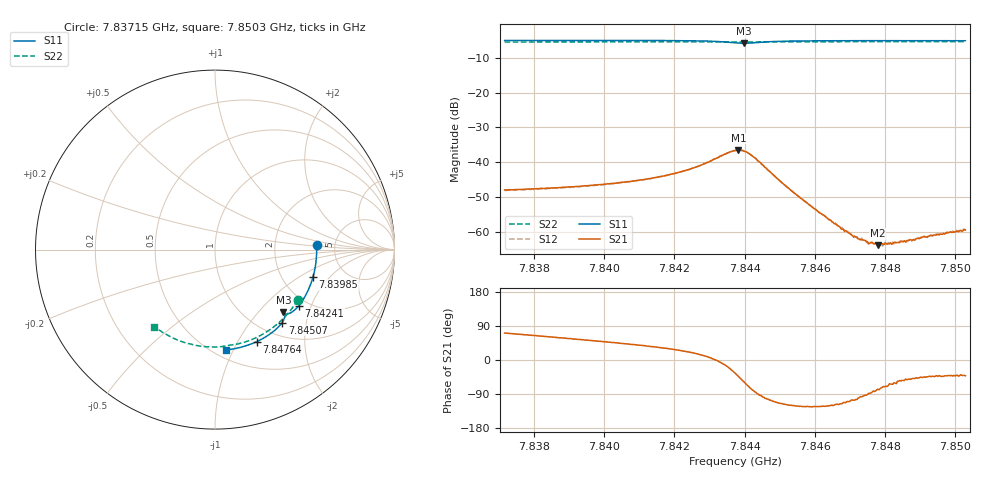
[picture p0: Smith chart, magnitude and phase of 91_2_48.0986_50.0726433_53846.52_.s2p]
#  HZ  S  RI  R  50.00
! Rohde & Schwarz Vector Network Analyzer
! Rohde-Schwarz,ZNB20-2Port,1311601062101988,3.16
! Created: UTC 12/23/2023, 3:43:45 AM
! freq[Hz]  re:S11  im:S11  re:S21  im:S21  re:S12  im:S12  re:S22  im:S22
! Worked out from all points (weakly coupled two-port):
!   401 points, 7.83715 GHz to 7.8503 GHz, reference 50 ohm
!   highest |S21| = -36.52 dB at 7.84382 GHz (marker M1); lowest = -63.9 dB at 7.8478 GHz (marker M2)
!   lowest |S11| = -5.8 dB at 7.84399 GHz (marker M3), VSWR 3.13, Z = 72.8 - j68.9 ohm
!   |S11| at or under -10 dB: nowhere
!   |S22| runs from -5.4 to -5.3 dB; largest |S21 - S12| = 0.00032
!   S11 on the Smith chart (normalised r, x): 7.83715 GHz: 3.59, +0.27; 7.83985 GHz: 2.96, -1.33; 7.84241 GHz: 1.79, -1.64; 7.84507 GHz: 1.25, -1.46; 7.84764 GHz: 0.80, -1.20; 7.8503 GHz: 0.57, -0.94
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7.837155e9  0.5659 0.0252  0.00128 0.00376  0.00132 0.00368  0.4617 -0.2796
7.839356e9  0.5539 -0.1205  0.00267 0.00362  0.00264 0.0036  0.3646 -0.399
7.839849e9  0.546 -0.1529  0.00309 0.00358  0.00304 0.00359  0.3387 -0.4216
7.840638e9  0.5289 -0.2034  0.00383 0.00352  0.00377 0.00349  0.2939 -0.4543
7.841558e9  0.5017 -0.261  0.00516 0.00335  0.0051 0.00335  0.2377 -0.4863
7.842412e9  0.4674 -0.3124  0.00732 0.00282  0.00729 0.00281  0.1824 -0.5097
7.843234e9  0.4185 -0.3537  0.0115 -0.000379  0.0117 -0.000286  0.1268 -0.5256
7.843726e9  0.3839 -0.3551  0.0121 -0.00828  0.0121 -0.00822  0.0939 -0.531
7.843825e9  0.3808 -0.3519  0.0109 -0.0102  0.0108 -0.0102  0.0877 -0.5318
7.843989e9  0.3809 -0.3474  0.0076 -0.0122  0.00754 -0.0123  0.0773 -0.5335
7.844285e9  0.3887 -0.3542  0.00133 -0.0115  0.0014 -0.0116  0.0583 -0.5372
7.845074e9  0.3741 -0.4064  -0.00213 -0.00452  -0.00215 -0.00455  0.00311 -0.5427
7.845928e9  0.3317 -0.4511  -0.00125 -0.00186  -0.00123 -0.00192  -0.0571 -0.5405
7.847045e9  0.2681 -0.4945  -0.000243 -0.000861  -0.000283 -0.000869  -0.1347 -0.5275
7.847505e9  0.2403 -0.509  -1.45e-05 -0.000712  -4.08e-06 -0.00068  -0.1658 -0.5188
7.847637e9  0.2323 -0.5127  6.12e-05 -0.000698  9.46e-05 -0.000679  -0.1746 -0.5161
7.847801e9  0.2222 -0.5173  0.000142 -0.000619  0.000159 -0.000629  -0.1855 -0.5124
7.847998e9  0.21 -0.5223  0.000219 -0.000623  0.000245 -0.00065  -0.1984 -0.5075
7.84813e9  0.2019 -0.5256  0.000303 -0.000595  0.000262 -0.000609  -0.2072 -0.5041
7.848688e9  0.1665 -0.5379  0.000475 -0.000574  0.000486 -0.000576  -0.2428 -0.4884
7.849477e9  0.1154 -0.5509  0.000672 -0.000589  0.00068 -0.000612  -0.2913 -0.4617
7.850298e9  0.0615 -0.559  0.000786 -0.000701  0.000782 -0.000694  -0.3385 -0.4288
